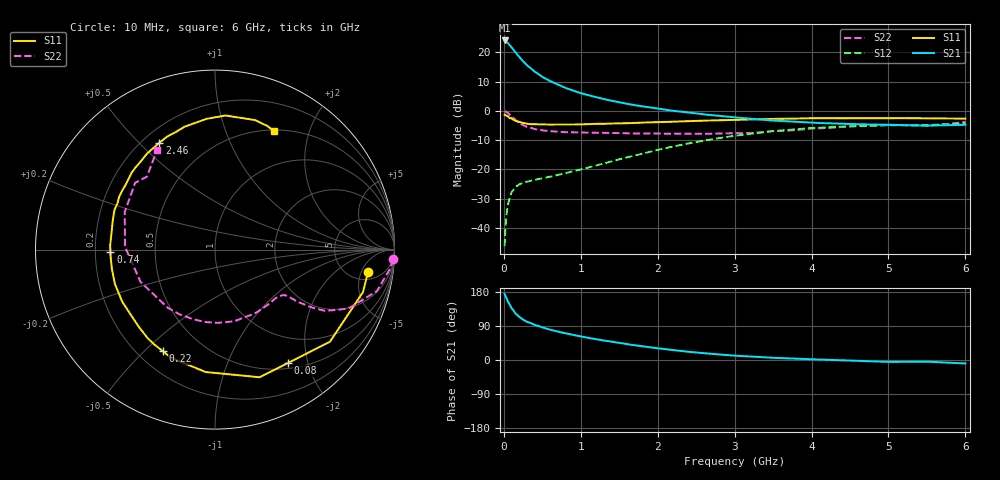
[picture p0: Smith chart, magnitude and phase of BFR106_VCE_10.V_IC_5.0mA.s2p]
! Infineon Technologies  Discrete & RF Semiconductors
! BFR106
! VCE =  10. V,  IC =  5.0 mA
! Common Emitter S-Parameters:  Nov 2015
# GHz  S  MA  R  50
!  f  S11  S21  S12  S22
! GHz  MAG  ANG  MAG  ANG  MAG  ANG  MAG  ANG
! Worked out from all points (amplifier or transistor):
!   210 points, 10 MHz to 6 GHz, reference 50 ohm
!   highest |S21| = 24.0 dB at 10 MHz (marker M1)
!   |S21| within 3 dB of that: start of sweep to 120.5 MHz
!   unconditionally stable (mu >= 1): 634.3 MHz to 1.851 GHz; 5.035 GHz to end of sweep
!   at 185 MHz: K = 0.38, MSG = 22.1 dB, |S12| = -25.4 dB
!   at 1.52 GHz: K = 1.10, MAG = 7.7 dB, |S12| = -16.4 dB
!   at 6 GHz: K = 1.02, MAG = -1.1 dB, |S12| = -4.3 dB
!   S11 on the Smith chart (normalised r, x): 10 MHz: 7.01, -6.70; 80 MHz: 0.58, -1.68; 220 MHz: 0.30, -0.57; 740 MHz: 0.26, -0.01; 2.46 GHz: 0.27, +0.58; 6 GHz: 0.52, +1.49
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0.01  0.8619 -8.2  15.94 174.0  0.0049 88.5  0.9933 -3.1
0.02  0.8579 -16.0  15.79 169.7  0.0097 83.4  0.9815 -6.2
0.05  0.8207 -38.7  14.59 155.1  0.0239 69.7  0.9309 -14.4
0.08  0.751 -57.3  13.05 145.0  0.0337 60.1  0.8556 -19.8
0.1  0.7537 -70.7  12.29 137.0  0.0406 56.4  0.8104 -24.0
0.15  0.684 -94.4  10.03 122.7  0.0501 48.0  0.7016 -29.1
0.2  0.6509 -111.9  8.332 113.7  0.0556 43.6  0.6275 -30.9
0.22  0.6361 -117.3  7.792 111.0  0.0571 42.5  0.6047 -31.2
0.26  0.6193 -127.5  6.819 105.3  0.0599 40.8  0.5633 -31.9
0.3  0.6034 -135.2  6.031 100.9  0.0618 40.4  0.5341 -32.4
0.4  0.5929 -150.6  4.692 92.6  0.0665 40.9  0.4885 -32.5
0.5  0.5896 -161.0  3.807 85.8  0.0708 43.1  0.4646 -33.1
0.6  0.5845 -169.5  3.234 80.0  0.0751 45.9  0.4509 -34.5
0.74  0.5829 -178.6  2.676 73.3  0.0826 50.2  0.4379 -37.3
1.02  0.5889 166.4  1.977 61.5  0.1015 57.7  0.4273 -44.0
1.4  0.6094 151.3  1.487 48.2  0.1374 64.4  0.4198 -56.0
2.02  0.6413 130.4  1.082 30.5  0.2185 65.0  0.4093 -80.3
2.46  0.6712 117.5  0.919 20.6  0.2879 60.8  0.406 -101.0
3.1  0.7084 101.8  0.755 10.4  0.3901 50.1  0.4163 -134.9
4.1  0.7484 84.1  0.621 1.2  0.5162 30.1  0.5046 173.8
5.1  0.7533 71.6  0.575 -4.9  0.5692 12.6  0.5744 138.7
6  0.738 63.4  0.579 -9.1  0.6081 0.7  0.6433 120.1
